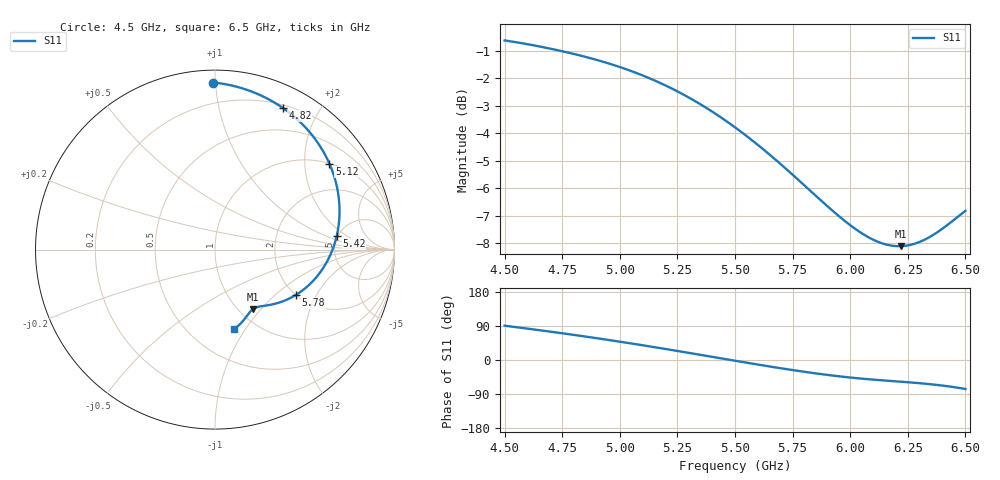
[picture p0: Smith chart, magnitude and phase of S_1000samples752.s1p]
! TOUCHSTONE file generated by CST MICROWAVE STUDIO
! Date and time: Sat Oct 29 06:32:39 2022
! Project name: L.cst
! Parameters = {Di=1.27; Epsilon_r=1.56; InnerDiameter=1.27; Length=2; Lf=10; Lg=60; OuterConductorThickness=0.2921; OuterDiameter=3.6; Wf=3; Wp=41.2; de=1.5; df=6.8; g=0.8; gx=0.721521; gy=3.98717; h=2.34; hf=1.524; px=9.20054; py=10.02; w=9.7; wx=8.47901; wy=6.0328}
! Header version: 2018
! Port assignment regex: !\s*Touchstone port\s*([0-9]+)\s*=\s*(CST MWS port|CST DS port)\s*([0-9]+|Zmin|Zmax)\s*\(\"(.*)\"\)(\s*mode\s*([0-9]+))?.*
! Touchstone port assignment:
! Touchstone port 1 = CST MWS port 1 ("")
# GHz S DB R 50
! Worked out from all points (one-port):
!   101 points, 4.5 GHz to 6.5 GHz, reference 50 ohm
!   lowest |S11| = -8.1 dB at 6.22 GHz (marker M1), VSWR 2.29, Z = 57.9 - j45.3 ohm
!   |S11| at or under -10 dB: nowhere
!   S11 on the Smith chart (normalised r, x): 4.5 GHz: 0.07, +0.99; 4.82 GHz: 0.23, +1.56; 5.12 GHz: 1.01, +2.66; 5.42 GHz: 4.89, +1.39; 5.78 GHz: 2.00, -1.38; 6.5 GHz: 0.80, -0.89
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4.5  -0.62 90.5
4.62  -0.79 81.1
4.7  -0.93 74.7
4.76  -1.04 69.7
4.82  -1.16 64.6
4.9  -1.33 57.5
5  -1.59 48.3
5.06  -1.77 42.7
5.12  -1.97 36.8
5.2  -2.27 28.9
5.26  -2.52 22.8
5.34  -2.90 14.6
5.42  -3.32 6.4
5.5  -3.79 -1.9
5.58  -4.30 -10.0
5.64  -4.71 -16.0
5.7  -5.14 -21.9
5.76  -5.59 -27.5
5.78  -5.74 -29.3
5.88  -6.50 -37.7
6  -7.35 -46.2
6.12  -7.96 -52.8
6.22  -8.12 -57.3
6.26  -8.07 -59.2
6.32  -7.89 -62.2
6.4  -7.48 -67.5
6.46  -7.10 -72.5
6.5  -6.83 -76.5
